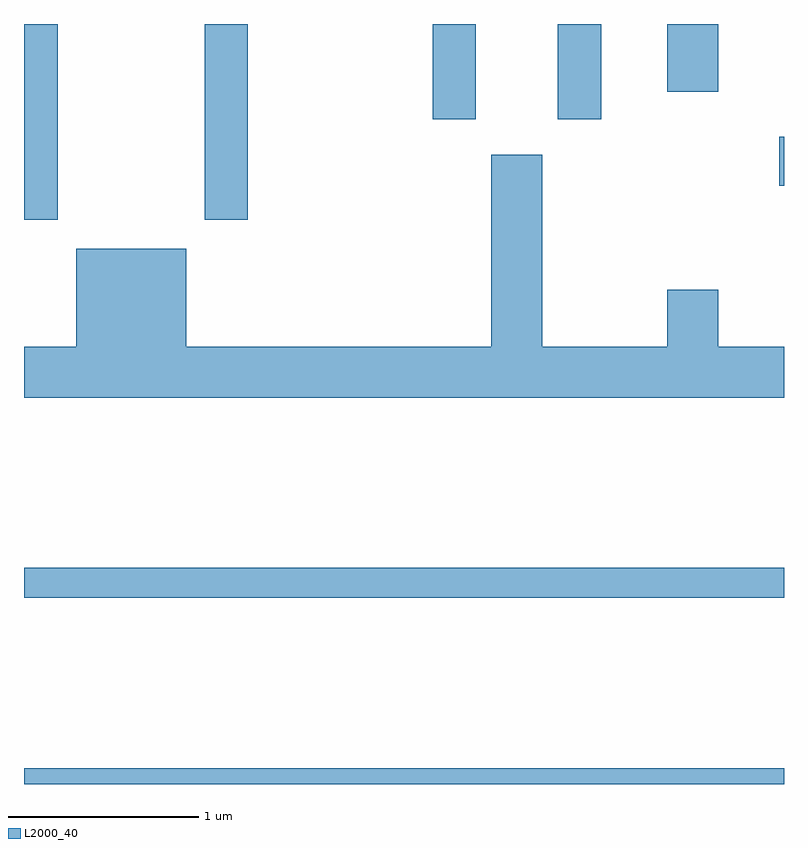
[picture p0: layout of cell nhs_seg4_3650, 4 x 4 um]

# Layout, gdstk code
import gdstk
lib = gdstk.Library(unit=1e-6, precision=1e-09)
def R(c, l, rs):  # rectangles x0, y0, x1, y1
    for r in rs: c.add(gdstk.rectangle(r[:2], r[2:], *l))
def P(c, l, *ps):  # polygons
    for p in ps: c.add(gdstk.Polygon(p, *l))
L2000_40 = (2000, 40)

nhs_seg4_3650 = lib.new_cell('nhs_seg4_3650')
R(nhs_seg4_3650, L2000_40, [(291.611,1345.982,295.611,1346.064), (291.611,1346.961,295.611,1347.119), (291.611,1348.951,291.789,1349.982), (292.561,1348.951,292.789,1349.982), (295.586,1349.131,295.611,1349.389), (293.761,1349.481,293.989,1349.982), (294.421,1349.481,294.649,1349.982), (294.996,1349.626,295.264,1349.982)])
P(nhs_seg4_3650, L2000_40, [(295.611,1348.284),(295.264,1348.284),(295.264,1348.584),(294.996,1348.584),(294.996,1348.284),(294.339,1348.284),(294.339,1349.294),(294.071,1349.294),(294.071,1348.284),(292.464,1348.284),(292.464,1348.799),(291.886,1348.799),(291.886,1348.284),(291.611,1348.284),(291.611,1348.016),(295.611,1348.016)])

lib.write_gds('nhs_seg4_3650.gds')
